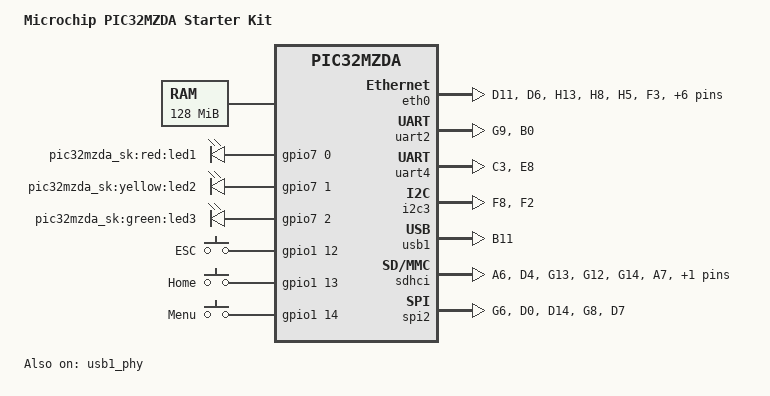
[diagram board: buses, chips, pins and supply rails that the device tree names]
/*
 * Copyright (C) 2015 Microchip Technology Inc.  All rights reserved.
 *
 * This program is free software; you can redistribute it and/or modify
 * it under the terms of the GNU General Public License version 2 as
 * published by the Free Software Foundation.
 *
 */

/dts-v1/;

#include <dt-bindings/gpio/gpio.h>
#include <dt-bindings/interrupt-controller/irq.h>

#include "pic32mzda.dtsi"

/ {
	compatible = "microchip,pic32mzda-sk", "microchip,pic32mzda";
	model = "Microchip PIC32MZDA Starter Kit";

	memory {
		device_type = "memory";
		reg = <0x08000000 0x08000000>;
	};

	chosen {
		bootargs = "earlyprintk=ttyPIC1,115200n8r console=ttyPIC1,115200n8";
	};

	leds0 {
		compatible = "gpio-leds";
		pinctrl-names = "default";
		pinctrl-0 = <&user_leds_s0>;

		led@1 {
			label = "pic32mzda_sk:red:led1";
			gpios = <&gpio7 0 GPIO_ACTIVE_HIGH>;
			linux,default-trigger = "heartbeat";
		};

		led@2 {
			label = "pic32mzda_sk:yellow:led2";
			gpios = <&gpio7 1 GPIO_ACTIVE_HIGH>;
			linux,default-trigger = "mmc0";
		};

		led@3 {
			label = "pic32mzda_sk:green:led3";
			gpios = <&gpio7 2 GPIO_ACTIVE_HIGH>;
			default-state = "on";
		};
	};

	keys0 {
		compatible = "gpio-keys";
		pinctrl-0 = <&user_buttons_s0>;
		pinctrl-names = "default";

		#address-cells = <1>;
		#size-cells = <0>;

		button@sw1 {
			label = "ESC";
			linux,code = <1>;
			gpios = <&gpio1 12 0>;
		};

		button@sw2 {
			label = "Home";
			linux,code = <102>;
			gpios = <&gpio1 13 0>;
		};

		button@sw3 {
			label = "Menu";
			linux,code = <139>;
			gpios = <&gpio1 14 0>;
		};
	};

	pwm8 {
		compatible = "microchip,pic32mzda-pwm";
		microchip,timer = <&PBTIMER23>;
		microchip,ocmp = <&OCMP8>;
		pinctrl-names = "default";
		pinctrl-0 = <&pinctrl_oc8>;
	};
};

&eth0 {
	mac-address = [00 00 00 00 00 00];
	pinctrl-names = "default";
	pinctrl-0 = <&pinctrl_eth0>;
	reset-gpio = <&gpio8 15 0>;
	status = "okay";
};

&uart2 {
	pinctrl-names = "default";
	pinctrl-0 = <&pinctrl_uart2>;
	status = "okay";
};

&uart4 {
	pinctrl-names = "default";
	pinctrl-0 = <&pinctrl_uart4>;
	status = "okay";
};

&i2c3 {
	#address-cells = <1>;
	#size-cells = <0>;
	pinctrl-names = "default";
	pinctrl-0 = <&pinctrl_i2c3>;
	status = "okay";
};

&usb1 {
	pinctrl-names = "default";
	pinctrl-0 = <&pinctrl_usb1>;
	status = "okay";

	usb_overcurrent@0 {
		interrupt-parent = <&gpio1>;
		interrupts = <11 IRQ_TYPE_EDGE_FALLING>;
	};
};

&usb1_phy {
	status = "okay";
};

&sdhci {
	pinctrl-names = "default";
	pinctrl-0 = <&pinctrl_sdhc1>;
	status = "okay";
	assigned-clocks = <&rootclk REF2CLK>, <&rootclk REF4CLK>,
		<&rootclk REF5CLK>;
	assigned-clock-rates = <50000000>, <25000000>, <40000000>;
};

&spi2 {
	pinctrl-names = "default";
	pinctrl-0 = <&pinctrl_spi2>;
	cs-gpios = <&gpio3 0 GPIO_ACTIVE_LOW>, <&gpio3 14 GPIO_ACTIVE_LOW>;
	status = "okay";
};

&pic32_pinctrl {

	pinctrl_usb1: usb1_oc-0 {
		pins = "B11";
		input-enable;
		microchip,digital;
	};

	pinctrl_oc8: ocmp8_pins {
		pins = "B8";
		function = "OC8";
		microchip,digital;
		output-low;
	};

	pinctrl_sdhc1: sdhc1_pins0 {
		pins = "A6", "D4", "G13", "G12", "G14", "A7", "A0";
		microchip,digital;
	};

	pinctrl_i2c3: i2c3_0 {
		pins = "F8", "F2";
		microchip,digital;
	};

	pinctrl_spi2: spi2_0 {
		spi2-common {
			pins = "G6", "D0", "D14";
			microchip,digital;
			output-low;
		};

		spi2-tx {
			pins = "G8";
			function = "SDO2";
			microchip,digital;
			output-low;
		};

		spi2-rx {
			pins = "D7";
			function = "SDI2";
			microchip,digital;
			input-enable;
		};
	};

	pinctrl_eth0: eth0_0 {
		pins = "D11", "D6", "H13", "H8", "H5", "F3",
			"J11", "J9", "J8", "J1", "J15";
		microchip,digital;
	};

	user_leds_s0: user_leds_s0 {
		pins = "H0", "H1", "H2";
		output-low;
		microchip,digital;
	};

	user_buttons_s0: user_buttons_s0 {
		pins = "B12", "B13", "B14";
		microchip,digital;
		input-enable;
		bias-pull-up;
	};

	pinctrl_uart2: pinctrl_uart2 {
		uart2-tx {
			pins = "G9";
			function = "U2TX";
			microchip,digital;
			output-high;
		};
		uart2-rx {
			pins = "B0";
			function = "U2RX";
			microchip,digital;
			input-enable;
		};
	};

	pinctrl_uart4: uart4-0 {
		uart4-tx {
			pins = "C3";
			function = "U4TX";
			microchip,digital;
			output-high;
		};
		uart4-rx {
			pins = "E8";
			function = "U4RX";
			microchip,digital;
			input-enable;
		};
	};
};
